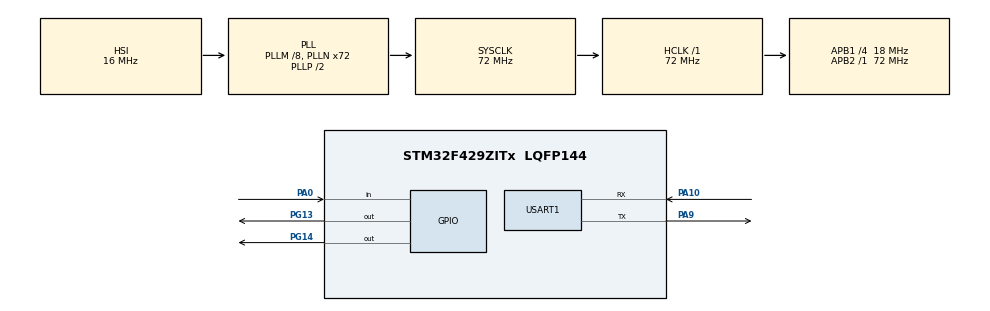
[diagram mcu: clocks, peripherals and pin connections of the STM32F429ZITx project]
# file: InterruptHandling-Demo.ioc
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FREERTOS.Tasks01=defaultTask,24,128,StartDefaultTask,Default,NULL,Dynamic,NULL,NULL
Mcu.Family=STM32F4
Mcu.Name=STM32F429ZITx
Mcu.Package=LQFP144
NVIC.PriorityGroup=NVIC_PRIORITYGROUP_4
PA0/WKUP.GPIO_PuPd=GPIO_PULLDOWN
PA0/WKUP.Signal=GPIO_Input
PA10.Mode=Asynchronous
PA10.Signal=USART1_RX
PA9.Mode=Asynchronous
PA9.Signal=USART1_TX
PG13.Signal=GPIO_Output
PG14.Signal=GPIO_Output
ProjectManager.HeapSize=0x200
ProjectManager.StackSize=0x400
ProjectManager.TargetToolchain=STM32CubeIDE
RCC.48MHZClocksFreq_Value=48000000
RCC.AHBFreq_Value=72000000
RCC.APB1CLKDivider=RCC_HCLK_DIV4
RCC.APB1Freq_Value=18000000
RCC.APB1TimFreq_Value=36000000
RCC.APB2Freq_Value=72000000
RCC.APB2TimFreq_Value=72000000
RCC.CortexFreq_Value=72000000
RCC.HCLKFreq_Value=72000000
RCC.HSE_VALUE=8000000
RCC.HSI_VALUE=16000000
RCC.LSE_VALUE=32768
RCC.PLLM=8
RCC.PLLN=72
RCC.PLLQ=3
RCC.PLLSAIN=50
RCC.SYSCLKFreq_VALUE=72000000
RCC.SYSCLKSource=RCC_SYSCLKSOURCE_PLLCLK
RCC.VCOOutputFreq_Value=144000000
USART1.VirtualMode=VM_ASYNC
VP_FREERTOS_VS_CMSIS_V2.Mode=CMSIS_V2
board=STM32F429I-DISC1

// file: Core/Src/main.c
/* USER CODE BEGIN Header */
/**
 ******************************************************************************
 * @file           : main.c
 * @brief          : Main program body
 ******************************************************************************
 * @attention
 *
 * Copyright (c) 2025 STMicroelectronics.
 * All rights reserved.
 *
 * This software is licensed under terms that can be found in the LICENSE file
 * in the root directory of this software component.
 * If no LICENSE file comes with this software, it is provided AS-IS.
 *
 ******************************************************************************
 */
/* USER CODE END Header */
#include "main.h"

UART_HandleTypeDef huart1;

/* Definitions for defaultTask */

/* USER CODE BEGIN PV */
/* Semaphore handle for ISR-to-Task communication */
SemaphoreHandle_t xButtonPressSemaphore;

/* Counters */
static volatile uint32_t ulButtonPressCount = 0;
/* USER CODE END PV */

void SystemClock_Config(void);
static void MX_GPIO_Init(void);
static void MX_USART1_UART_Init(void);
void StartDefaultTask(void *argument);

/* USER CODE BEGIN PFP */
/* Function prototypes */
static void ButtonMonitorTask(void *pvParameters);
/* USER CODE END PFP */

/* USER CODE BEGIN 0 */
int _write(int file, char *ptr, int len)
{
	HAL_UART_Transmit(&huart1, (uint8_t*)ptr, len, HAL_MAX_DELAY);
	return len;
}
/**
 * @brief HAL_GPIO_EXTI_Callback - Called when an EXTI interrupt occurs
 *
 * This function is part of the HAL driver and should be implemented in
 * stm32f4xx_it.c. It's placed here for demonstration purposes. In a real
 * project, ensure this is in the correct interrupt handler file.
 */
void HAL_GPIO_EXTI_Callback(uint16_t GPIO_Pin)
{
	BaseType_t xHigherPriorityTaskWoken = pdFALSE;

	if (GPIO_Pin == GPIO_PIN_0) /* Check if the interrupt is from User Button (PA0) */
	{
		/* Give the semaphore from ISR context */
		xSemaphoreGiveFromISR(xButtonPressSemaphore, &xHigherPriorityTaskWoken);

		/* If xHigherPriorityTaskWoken is now pdTRUE, then a context switch
		 * should be performed before exiting the ISR. */
		portYIELD_FROM_ISR(xHigherPriorityTaskWoken);
	}
}
/* USER CODE END 0 */

int main(void)
{

	/* MCU Configuration--------------------------------------------------------*/

	/* Reset of all peripherals, Initializes the Flash interface and the Systick. */
	HAL_Init();

	/* Configure the system clock */
	SystemClock_Config();

	/* Initialize all configured peripherals */
	MX_GPIO_Init();
	MX_USART1_UART_Init();

	/* Init scheduler */

	/* USER CODE BEGIN RTOS_SEMAPHORES */
	/* add semaphores, ... */
	xButtonPressSemaphore = xSemaphoreCreateBinary();

	if (xButtonPressSemaphore != NULL) {
		printf("Button press semaphore created successfully.\r\n");
	}
	else {
		printf("Failed to create button press semaphore. Out of memory?\r\n");
	}

	/* USER CODE END RTOS_SEMAPHORES */

	/* Create the thread(s) */
	/* creation of defaultTask */

	/* USER CODE BEGIN RTOS_THREADS */
	/* add threads, ... */
	printf("=== FreeRTOS Interrupt Handling Demonstration ===\r\n");
	printf("STM32F429I Discovery Board\r\n");
	printf("Press the User Button (PA0) to trigger an interrupt.\r\n");

	/* Initialize the User Button as an external interrupt */

	/* Create tasks */
	xTaskCreate(
			ButtonMonitorTask,      /* Task function */
			"ButtonMonitor",        /* Task name */
			configMINIMAL_STACK_SIZE, /* Stack size */
			NULL,                   /* Parameters to pass to the task */
			tskIDLE_PRIORITY + 1,   /* Task priority */
			NULL                    /* Task handle */
	);

	printf("All tasks created. Starting scheduler...\r\n");

	/* Start the scheduler */
	vTaskStartScheduler();

	/* USER CODE END RTOS_THREADS */

	/* Start scheduler */

	/* We should never get here as control is now taken by the scheduler */

	/* Infinite loop */
	while (1)
	{

	}
}

void SystemClock_Config(void)
{
	RCC_OscInitTypeDef RCC_OscInitStruct = {0};
	RCC_ClkInitTypeDef RCC_ClkInitStruct = {0};

	/** Configure the main internal regulator output voltage
	 */
	__HAL_RCC_PWR_CLK_ENABLE();
	__HAL_PWR_VOLTAGESCALING_CONFIG(PWR_REGULATOR_VOLTAGE_SCALE3);

	/** Initializes the RCC Oscillators according to the specified parameters
	 * in the RCC_OscInitTypeDef structure.
	 */
	RCC_OscInitStruct.OscillatorType = RCC_OSCILLATORTYPE_HSI;
	RCC_OscInitStruct.HSIState = RCC_HSI_ON;
	RCC_OscInitStruct.HSICalibrationValue = RCC_HSICALIBRATION_DEFAULT;
	RCC_OscInitStruct.PLL.PLLState = RCC_PLL_ON;
	RCC_OscInitStruct.PLL.PLLSource = RCC_PLLSOURCE_HSI;
	RCC_OscInitStruct.PLL.PLLM = 8;
	RCC_OscInitStruct.PLL.PLLN = 72;
	RCC_OscInitStruct.PLL.PLLP = RCC_PLLP_DIV2;
	RCC_OscInitStruct.PLL.PLLQ = 3;
	if (HAL_RCC_OscConfig(&RCC_OscInitStruct) != HAL_OK)
	{
		Error_Handler();
	}

	/** Initializes the CPU, AHB and APB buses clocks
	 */
	RCC_ClkInitStruct.ClockType = RCC_CLOCKTYPE_HCLK|RCC_CLOCKTYPE_SYSCLK
			|RCC_CLOCKTYPE_PCLK1|RCC_CLOCKTYPE_PCLK2;
	RCC_ClkInitStruct.SYSCLKSource = RCC_SYSCLKSOURCE_PLLCLK;
	RCC_ClkInitStruct.AHBCLKDivider = RCC_SYSCLK_DIV1;
	RCC_ClkInitStruct.APB1CLKDivider = RCC_HCLK_DIV4;
	RCC_ClkInitStruct.APB2CLKDivider = RCC_HCLK_DIV1;

	if (HAL_RCC_ClockConfig(&RCC_ClkInitStruct, FLASH_LATENCY_2) != HAL_OK)
	{
		Error_Handler();
	}
}

static void MX_USART1_UART_Init(void)
{

	huart1.Instance = USART1;
	huart1.Init.BaudRate = 115200;
	huart1.Init.WordLength = UART_WORDLENGTH_8B;
	huart1.Init.StopBits = UART_STOPBITS_1;
	huart1.Init.Parity = UART_PARITY_NONE;
	huart1.Init.Mode = UART_MODE_TX_RX;
	huart1.Init.HwFlowCtl = UART_HWCONTROL_NONE;
	huart1.Init.OverSampling = UART_OVERSAMPLING_16;
	if (HAL_UART_Init(&huart1) != HAL_OK)
	{
		Error_Handler();
	}

}

static void MX_GPIO_Init(void)
{
	GPIO_InitTypeDef GPIO_InitStruct = {0};

	/* GPIO Ports Clock Enable */
	__HAL_RCC_GPIOA_CLK_ENABLE();
	__HAL_RCC_GPIOG_CLK_ENABLE();

	/*Configure GPIO pin Output Level */
	HAL_GPIO_WritePin(GPIOG, GPIO_PIN_13|GPIO_PIN_14, GPIO_PIN_RESET);

	/*Configure GPIO pin : PA0 */
	GPIO_InitStruct.Pin = GPIO_PIN_0;
	GPIO_InitStruct.Mode = GPIO_MODE_INPUT;
	GPIO_InitStruct.Pull = GPIO_PULLDOWN;
	HAL_GPIO_Init(GPIOA, &GPIO_InitStruct);

	/*Configure GPIO pins : PG13 PG14 */
	GPIO_InitStruct.Pin = GPIO_PIN_13|GPIO_PIN_14;
	GPIO_InitStruct.Mode = GPIO_MODE_OUTPUT_PP;
	GPIO_InitStruct.Pull = GPIO_NOPULL;
	GPIO_InitStruct.Speed = GPIO_SPEED_FREQ_LOW;
	HAL_GPIO_Init(GPIOG, &GPIO_InitStruct);

}

/* USER CODE BEGIN 4 */
/**
 * @brief Button Monitor Task - Waits for button press events from ISR
 * @param pvParameters: Task parameters (unused)
 */
static void ButtonMonitorTask(void *pvParameters)
{
	(void)pvParameters; /* Suppress unused parameter warning */

	printf("Button Monitor Task: Started - waiting for button presses...\r\n");

	for (;;) {
		/* Wait indefinitely for the semaphore to be given by the ISR */
		if (xSemaphoreTake(xButtonPressSemaphore, portMAX_DELAY) == pdTRUE) {
			ulButtonPressCount++;
			printf("Button Monitor: Button pressed! Count: %lu\r\n", ulButtonPressCount);
			HAL_GPIO_TogglePin(GPIOG, GPIO_PIN_13); /* Toggle Green LED on button press */
		}
	}
}

/* USER CODE END 4 */

void StartDefaultTask(void *argument)
{
	for(;;)
	{
	}
}

void Error_Handler(void)
{
	__disable_irq();
	while (1)
	{
	}
}
